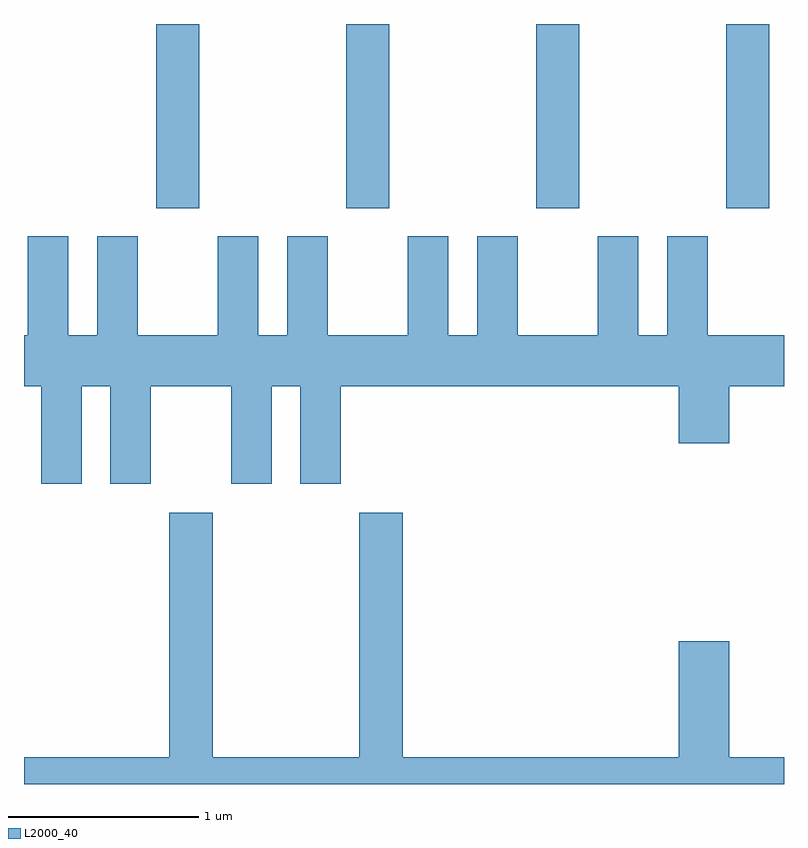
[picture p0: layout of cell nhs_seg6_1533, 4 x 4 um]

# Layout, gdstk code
import gdstk
lib = gdstk.Library(unit=1e-6, precision=1e-09)
def R(c, l, rs):  # rectangles x0, y0, x1, y1
    for r in rs: c.add(gdstk.rectangle(r[:2], r[2:], *l))
def A(c, l, x, y, w, h, nx, ny, dx, dy):  # array of equal rectangles
    R(c, l, [(x+i*dx, y+j*dy, x+i*dx+w, y+j*dy+h) for i in range(nx) for j in range(ny)])
def P(c, l, *ps):  # polygons
    for p in ps: c.add(gdstk.Polygon(p, *l))
L2000_40 = (2000, 40)

nhs_seg6_1533 = lib.new_cell('nhs_seg6_1533')
A(nhs_seg6_1533, L2000_40, 232.306, 1553.191, 0.228, 0.971, 4, 1, 1, 0)
P(nhs_seg6_1533, L2000_40, [(231.914,1552.256),(232.066,1552.256),(232.066,1551.741),(232.279,1551.741),(232.279,1552.256),(232.701,1552.256),(232.701,1551.741),(232.914,1551.741),(232.914,1552.256),(233.066,1552.256),(233.066,1551.741),(233.279,1551.741),(233.279,1552.256),(235.056,1552.256),(235.056,1551.956),(235.324,1551.956),(235.324,1552.256),(235.611,1552.256),(235.611,1552.524),(235.209,1552.524),(235.209,1553.044),(234.996,1553.044),(234.996,1552.524),(234.844,1552.524),(234.844,1553.044),(234.631,1553.044),(234.631,1552.524),(234.209,1552.524),(234.209,1553.044),(233.996,1553.044),(233.996,1552.524),(233.844,1552.524),(233.844,1553.044),(233.631,1553.044),(233.631,1552.524),(233.209,1552.524),(233.209,1553.044),(232.996,1553.044),(232.996,1552.524),(232.844,1552.524),(232.844,1553.044),(232.631,1553.044),(232.631,1552.524),(232.209,1552.524),(232.209,1553.044),(231.996,1553.044),(231.996,1552.524),(231.844,1552.524),(231.844,1553.044),(231.631,1553.044),(231.631,1552.524),(231.611,1552.524),(231.611,1552.256),(231.701,1552.256),(231.701,1551.741),(231.914,1551.741)],
  [(235.611,1550.304),(235.324,1550.304),(235.324,1550.914),(235.056,1550.914),(235.056,1550.304),(233.604,1550.304),(233.604,1551.589),(233.376,1551.589),(233.376,1550.304),(232.604,1550.304),(232.604,1551.589),(232.376,1551.589),(232.376,1550.304),(231.611,1550.304),(231.611,1550.162),(235.611,1550.162)])

lib.write_gds('nhs_seg6_1533.gds')
